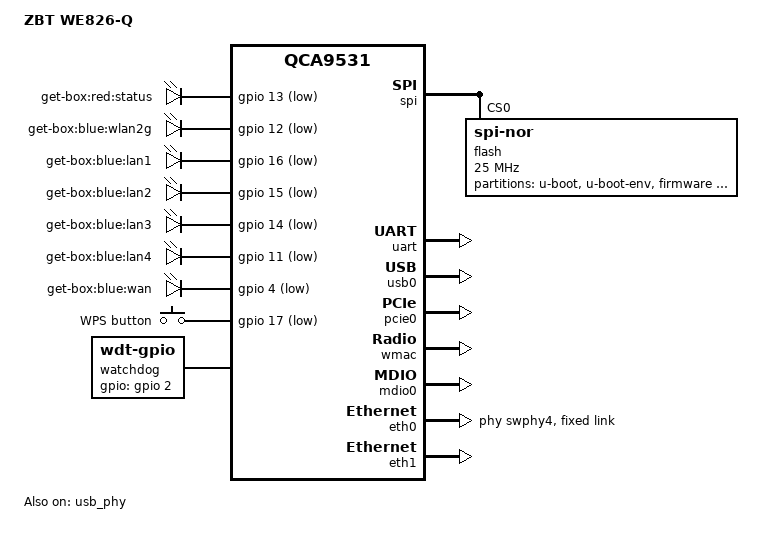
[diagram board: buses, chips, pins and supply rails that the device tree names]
// SPDX-License-Identifier: GPL-2.0-or-later
/dts-v1/;

#include <dt-bindings/gpio/gpio.h>
#include <dt-bindings/input/input.h>

#include "qca953x.dtsi"

/ {
	compatible = "jangala,get-box", "qca,qca9531";
	model = "ZBT WE826-Q";

	aliases {
		label-mac-device = &wmac;
		led-failsafe = &led_power;
		led-running = &led_power;
		led-upgrade = &led_power;
	};

	chosen {
		bootargs = "console=ttyS0,115200";
	};

	leds {
		compatible = "gpio-leds";

		led_power: power {
			label = "get-box:red:status";
			gpios = <&gpio 13 GPIO_ACTIVE_LOW>;
		};

		wlan2g {
			label = "get-box:blue:wlan2g";
			gpios = <&gpio 12 GPIO_ACTIVE_LOW>;
			linux,default-trigger = "phy0tpt";
		};

		lan1 {
			label = "get-box:blue:lan1";
			gpios = <&gpio 16 GPIO_ACTIVE_LOW>;
		};

		lan2 {
			label = "get-box:blue:lan2";
			gpios = <&gpio 15 GPIO_ACTIVE_LOW>;
		};

		lan3 {
			label = "get-box:blue:lan3";
			gpios = <&gpio 14 GPIO_ACTIVE_LOW>;
		};

		lan4 {
			label = "get-box:blue:lan4";
			gpios = <&gpio 11 GPIO_ACTIVE_LOW>;
		};

		wan {
			label = "get-box:blue:wan";
			gpios = <&gpio 4 GPIO_ACTIVE_LOW>;
		};
	};

	keys {
		compatible = "gpio-keys";

		wps {
			label = "WPS button";
			linux,code = <KEY_WPS_BUTTON>;
			gpios = <&gpio 17 GPIO_ACTIVE_LOW>;
			debounce-interval = <60>;
		};
	};

	watchdog {
		compatible = "linux,wdt-gpio";

		gpios = <&gpio 2 GPIO_ACTIVE_HIGH>;
		hw_algo = "toggle";
		hw_margin_ms = <900>;
		always-running;
	};

	gpio {
		status = "okay";
	};
};

&spi {
	status = "okay";

	num-cs = <1>;

	flash@0 {
		compatible = "jedec,spi-nor";
		reg = <0>;
		spi-max-frequency = <25000000>;

		partitions {
			compatible = "fixed-partitions";
			#address-cells = <1>;
			#size-cells = <1>;

			uboot: partition@0 {
				label = "u-boot";
				reg = <0x000000 0x040000>;
				read-only;
			};
			partition@40000 {
				label = "u-boot-env";
				reg = <0x040000 0x010000>;
			};

			partition@50000 {
				compatible = "denx,uimage";
				label = "firmware";
				reg = <0x050000 0xfa0000>;
			};

			art: partition@ff0000 {
				label = "art";
				reg = <0xff0000 0x010000>;
				read-only;
			};
		};
	};
};

&uart {
	status = "okay";
};

&usb0 {
	#address-cells = <1>;
	#size-cells = <0>;
	status = "okay";

	hub_port: port@1 {
		reg = <1>;
		#trigger-source-cells = <0>;
	};
};

&usb_phy {
	status = "okay";
};

&pcie0 {
	status = "okay";
};

&wmac {
	status = "okay";

	mtd-cal-data = <&art 0x1000>;
};

&mdio0 {
	status = "okay";
};

/* WAN */
&eth0 {
	status = "okay";

	phy-handle = <&swphy4>;

	mtd-mac-address = <&art 0x0>;
	mtd-mac-address-increment = <1>;

	fixed-link {
		speed = <100>;
		full-duplex;
	};
};

/* LAN */
&eth1 {
	status = "okay";

	mtd-mac-address = <&art 0x6>;
};
